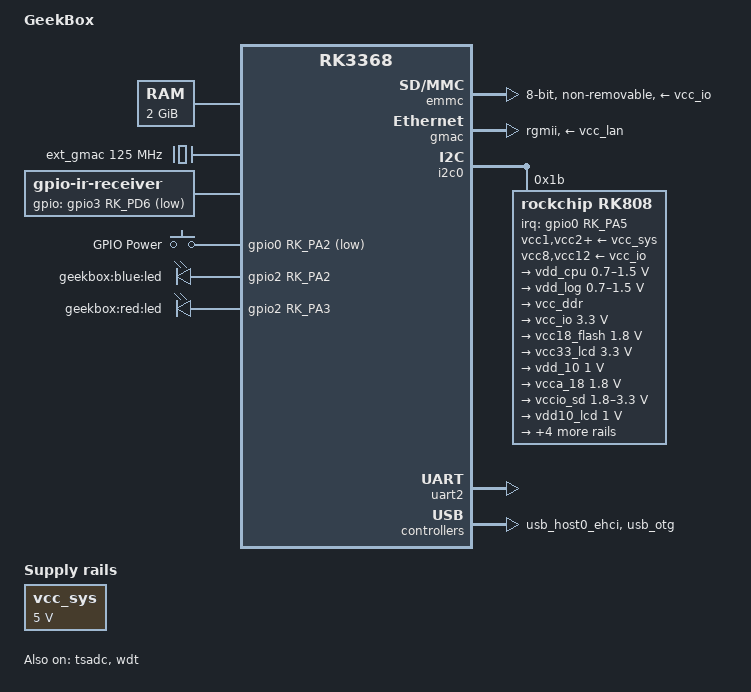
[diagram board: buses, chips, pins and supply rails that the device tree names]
// SPDX-License-Identifier: (GPL-2.0+ OR MIT)
/*
 * Copyright (c) 2016 Andreas Färber
 */

/dts-v1/;
#include "rk3368.dtsi"
#include <dt-bindings/input/input.h>

/ {
	model = "GeekBox";
	compatible = "geekbuying,geekbox", "rockchip,rk3368";

	aliases {
		mmc0 = &emmc;
	};

	chosen {
		stdout-path = "serial2:115200n8";
	};

	memory@0 {
		device_type = "memory";
		reg = <0x0 0x0 0x0 0x80000000>;
	};

	ext_gmac: gmac-clk {
		compatible = "fixed-clock";
		clock-frequency = <125000000>;
		clock-output-names = "ext_gmac";
		#clock-cells = <0>;
	};

	ir: ir-receiver {
		compatible = "gpio-ir-receiver";
		gpios = <&gpio3 RK_PD6 GPIO_ACTIVE_LOW>;
		pinctrl-names = "default";
		pinctrl-0 = <&ir_int>;
	};

	keys: gpio-keys {
		compatible = "gpio-keys";
		pinctrl-names = "default";
		pinctrl-0 = <&pwr_key>;

		power {
			gpios = <&gpio0 RK_PA2 GPIO_ACTIVE_LOW>;
			label = "GPIO Power";
			linux,code = <KEY_POWER>;
			wakeup-source;
		};
	};

	leds: gpio-leds {
		compatible = "gpio-leds";

		blue_led: led-0 {
			gpios = <&gpio2 RK_PA2 GPIO_ACTIVE_HIGH>;
			label = "geekbox:blue:led";
			default-state = "on";
		};

		red_led: led-1 {
			gpios = <&gpio2 RK_PA3 GPIO_ACTIVE_HIGH>;
			label = "geekbox:red:led";
			default-state = "off";
		};
	};

	vcc_sys: vcc-sys-regulator {
		compatible = "regulator-fixed";
		regulator-name = "vcc_sys";
		regulator-min-microvolt = <5000000>;
		regulator-max-microvolt = <5000000>;
		regulator-always-on;
		regulator-boot-on;
	};
};

&emmc {
	status = "okay";
	bus-width = <8>;
	cap-mmc-highspeed;
	clock-frequency = <150000000>;
	non-removable;
	vmmc-supply = <&vcc_io>;
	vqmmc-supply = <&vcc18_flash>;
	pinctrl-names = "default";
	pinctrl-0 = <&emmc_clk>, <&emmc_cmd>, <&emmc_bus8>;
};

&gmac {
	status = "okay";
	phy-supply = <&vcc_lan>;
	phy-mode = "rgmii";
	clock_in_out = "input";
	assigned-clocks = <&cru SCLK_MAC>;
	assigned-clock-parents = <&ext_gmac>;
	pinctrl-names = "default";
	pinctrl-0 = <&rgmii_pins>;
	tx_delay = <0x30>;
	rx_delay = <0x10>;
};

&i2c0 {
	status = "okay";

	rk808: pmic@1b {
		compatible = "rockchip,rk808";
		reg = <0x1b>;
		pinctrl-names = "default";
		pinctrl-0 = <&pmic_int>, <&pmic_sleep>;
		interrupt-parent = <&gpio0>;
		interrupts = <RK_PA5 IRQ_TYPE_LEVEL_LOW>;
		rockchip,system-power-controller;
		vcc1-supply = <&vcc_sys>;
		vcc2-supply = <&vcc_sys>;
		vcc3-supply = <&vcc_sys>;
		vcc4-supply = <&vcc_sys>;
		vcc6-supply = <&vcc_sys>;
		vcc7-supply = <&vcc_sys>;
		vcc8-supply = <&vcc_io>;
		vcc9-supply = <&vcc_sys>;
		vcc10-supply = <&vcc_sys>;
		vcc11-supply = <&vcc_sys>;
		vcc12-supply = <&vcc_io>;
		clock-output-names = "xin32k", "rk808-clkout2";
		#clock-cells = <1>;

		regulators {
			vdd_cpu: DCDC_REG1 {
				regulator-always-on;
				regulator-boot-on;
				regulator-min-microvolt = <700000>;
				regulator-max-microvolt = <1500000>;
				regulator-name = "vdd_cpu";
			};

			vdd_log: DCDC_REG2 {
				regulator-always-on;
				regulator-boot-on;
				regulator-min-microvolt = <700000>;
				regulator-max-microvolt = <1500000>;
				regulator-name = "vdd_log";
			};

			vcc_ddr: DCDC_REG3 {
				regulator-always-on;
				regulator-boot-on;
				regulator-name = "vcc_ddr";
			};

			vcc_io: DCDC_REG4 {
				regulator-always-on;
				regulator-boot-on;
				regulator-min-microvolt = <3300000>;
				regulator-max-microvolt = <3300000>;
				regulator-name = "vcc_io";
			};

			vcc18_flash: LDO_REG1 {
				regulator-always-on;
				regulator-boot-on;
				regulator-min-microvolt = <1800000>;
				regulator-max-microvolt = <1800000>;
				regulator-name = "vcc18_flash";
			};

			vcc33_lcd: LDO_REG2 {
				regulator-always-on;
				regulator-boot-on;
				regulator-min-microvolt = <3300000>;
				regulator-max-microvolt = <3300000>;
				regulator-name = "vcc33_lcd";
			};

			vdd_10: LDO_REG3 {
				regulator-always-on;
				regulator-boot-on;
				regulator-min-microvolt = <1000000>;
				regulator-max-microvolt = <1000000>;
				regulator-name = "vdd_10";
			};

			vcca_18: LDO_REG4 {
				regulator-boot-on;
				regulator-min-microvolt = <1800000>;
				regulator-max-microvolt = <1800000>;
				regulator-name = "vcca_18";
			};

			vccio_sd: LDO_REG5 {
				regulator-always-on;
				regulator-boot-on;
				regulator-min-microvolt = <1800000>;
				regulator-max-microvolt = <3300000>;
				regulator-name = "vccio_sd";
			};

			vdd10_lcd: LDO_REG6 {
				regulator-always-on;
				regulator-boot-on;
				regulator-min-microvolt = <1000000>;
				regulator-max-microvolt = <1000000>;
				regulator-name = "vdd10_lcd";
			};

			vcc_18: LDO_REG7 {
				regulator-always-on;
				regulator-boot-on;
				regulator-min-microvolt = <1800000>;
				regulator-max-microvolt = <1800000>;
				regulator-name = "vcc_18";
			};

			vcc18_lcd: LDO_REG8 {
				regulator-always-on;
				regulator-boot-on;
				regulator-min-microvolt = <1800000>;
				regulator-max-microvolt = <1800000>;
				regulator-name = "vcc18_lcd";
			};

			vcc_sd: SWITCH_REG1 {
				regulator-name = "vcc_sd";
			};

			vcc_lan: SWITCH_REG2 {
				regulator-always-on;
				regulator-boot-on;
				regulator-name = "vcc_lan";
			};
		};
	};
};

&pinctrl {
	ir {
		ir_int: ir-int {
			rockchip,pins = <3 RK_PD6 RK_FUNC_GPIO &pcfg_pull_none>;
		};
	};

	keys {
		pwr_key: pwr-key {
			rockchip,pins = <0 RK_PA2 RK_FUNC_GPIO &pcfg_pull_none>;
		};
	};

	pmic {
		pmic_sleep: pmic-sleep {
			rockchip,pins = <0 RK_PA0 2 &pcfg_pull_none>;
		};

		pmic_int: pmic-int {
			rockchip,pins = <0 RK_PA5 RK_FUNC_GPIO &pcfg_pull_up>;
		};
	};
};

&tsadc {
	status = "okay";
	rockchip,hw-tshut-mode = <0>; /* CRU */
	rockchip,hw-tshut-polarity = <1>; /* high */
};

&uart2 {
	status = "okay";
};

&usb_host0_ehci {
	status = "okay";
};

&usb_otg {
	status = "okay";
};

&wdt {
	status = "okay";
};
